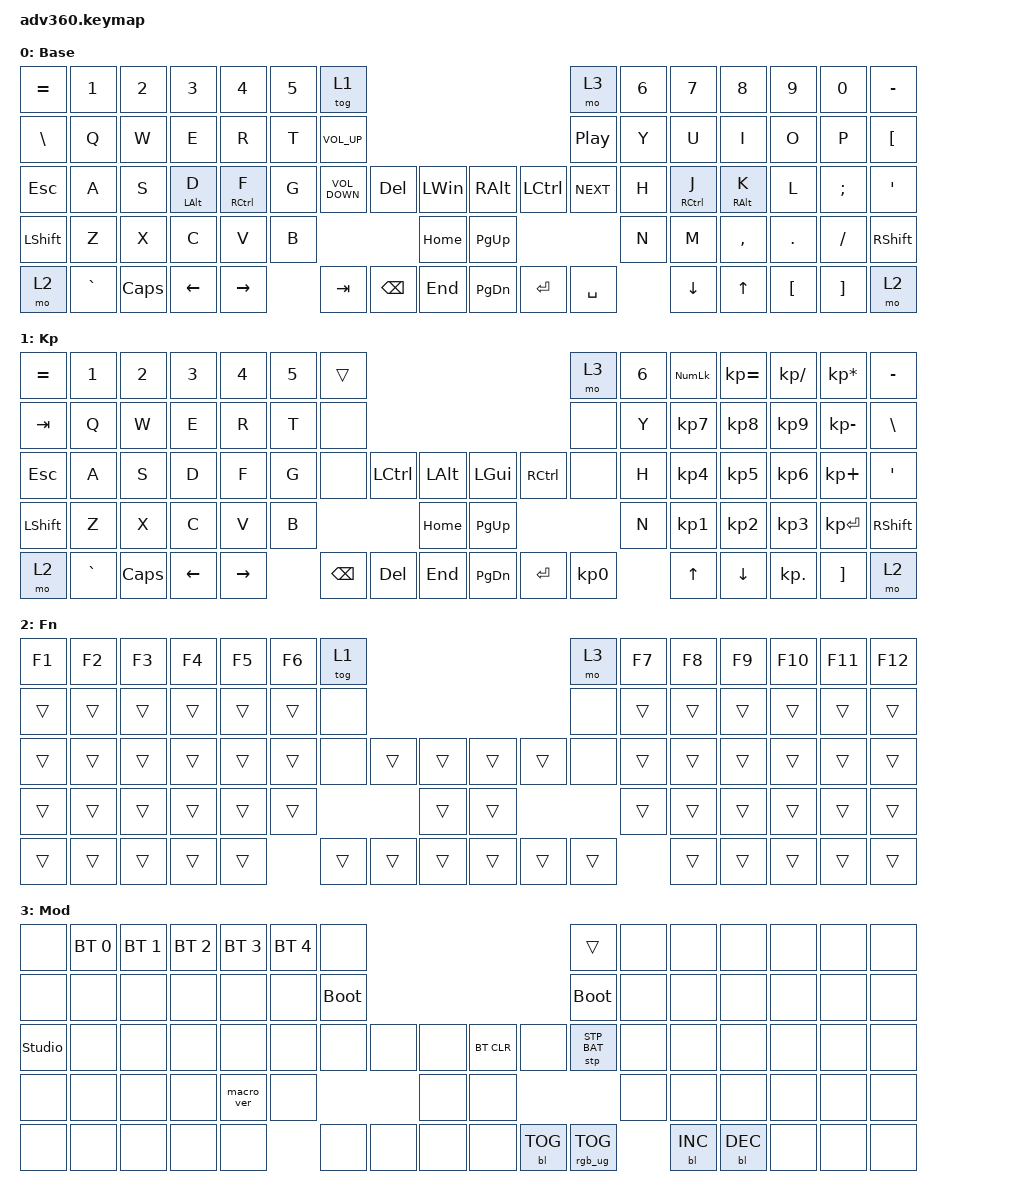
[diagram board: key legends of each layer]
#include <dt-bindings/zmk/stp.h>
#include <behaviors.dtsi>
#include <dt-bindings/zmk/backlight.h>
#include <dt-bindings/zmk/bt.h>
#include <dt-bindings/zmk/keys.h>
#include <dt-bindings/zmk/rgb.h>

/ {
    behaviors {
        #include "macros.dtsi"
      #include "version.dtsi"

        hrm_l: homerow_mods_l {
            compatible = "zmk,behavior-hold-tap";
            label = "HOMEROW_MODS_L";
            #binding-cells = <2>;
            tapping-term-ms = <280>;
            flavor = "balanced";
            bindings = <&kp>, <&kp>;

            quick-tap-ms = <220>;
            require-prior-idle-ms = <150>;
            hold-trigger-key-positions = <7 8 9 10 11 12 13 21 22 23 24 25 26 27 39 40 41 42 43 44 45 54 55 56 57 58 59 58 59 71 72 73 74 75 46>;
        };

        hrm_r: homerow_mods_r {
            compatible = "zmk,behavior-hold-tap";
            label = "HOMEROW_MODS_R";
            #binding-cells = <2>;
            tapping-term-ms = <280>;
            flavor = "balanced";
            bindings = <&kp>, <&kp>;

            quick-tap-ms = <220>;
            require-prior-idle-ms = <150>;
            hold-trigger-key-positions = <0 1 2 3 4 5 6 14 15 16 17 18 19 20 28 29 30 31 32 33 34 46 47 48 49 50 51 60 61 62 63 64 59 35>;
        };

        new_behavior: new_behavior {
            compatible = "zmk,behavior-hold-tap";
            label = "NEW_BEHAVIOR";
            #binding-cells = <2>;
            tapping-term-ms = <280>;
            flavor = "balanced";
            bindings = <&kp>, <&kp>;

            quick-tap-ms = <175>;
            require-prior-idle-ms = <150>;
            hold-trigger-key-positions = <7 8 9 10 11 12 13 21 22 23 24 25 26 27 39 40 41 42 43 44 45 54 55 56 57 58 59 58 59 71 72 73 74 75 46 35>;
        };
    };

    keymap {
        compatible = "zmk,keymap";

        default_layer {
            display-name = "Base";
            bindings = <
&kp EQUAL       &kp N1     &kp N2    &kp N3             &kp N4          &kp N5  &tog 1                                                                    &mo 3             &kp N6  &kp N7          &kp N8              &kp N9    &kp N0    &kp MINUS
&kp BACKSLASH   &kp Q      &kp W     &kp E              &kp R           &kp T   &kp C_VOLUME_UP                                                           &kp C_PLAY_PAUSE  &kp Y   &kp U           &kp I               &kp O     &kp P     &kp LEFT_BRACKET
&kp ESC         &kp A      &kp S     &hrm_l LEFT_ALT D  &hrm_l RCTRL F  &kp G   &kp C_VOLUME_DOWN  &kp DELETE     &kp LEFT_WIN      &kp RALT   &kp LCTRL  &kp C_NEXT        &kp H   &hrm_r RCTRL J  &hrm_r RIGHT_ALT K  &kp L     &kp SEMI  &kp SQT
&kp LEFT_SHIFT  &kp Z      &kp X     &kp C              &kp V           &kp B                                     &kp HOME          &kp PG_UP                               &kp N   &kp M           &kp COMMA           &kp DOT   &kp FSLH  &kp RIGHT_SHIFT
&mo 2           &kp GRAVE  &kp CAPS  &kp LEFT           &kp RIGHT               &kp TAB            &kp BACKSPACE  &kp END           &kp PG_DN  &kp ENTER  &kp SPACE                 &kp DOWN        &kp UP_ARROW        &kp LBKT  &kp RBKT  &mo 2
            >;
        };

        keypad {
            display-name = "Kp";
            bindings = <
&kp EQUAL  &kp N1     &kp N2    &kp N3    &kp N4     &kp N5  &trans                                                   &mo 3      &kp N6  &kp KP_NUM  &kp KP_EQUAL  &kp KP_DIVIDE  &kp KP_MULTIPLY  &kp MINUS
&kp TAB    &kp Q      &kp W     &kp E     &kp R      &kp T   &none                                                    &none      &kp Y   &kp KP_N7   &kp KP_N8     &kp KP_N9      &kp KP_MINUS     &kp BSLH
&kp ESC    &kp A      &kp S     &kp D     &kp F      &kp G   &none     &kp LCTRL  &kp LALT      &kp LGUI   &kp RCTRL  &none      &kp H   &kp KP_N4   &kp KP_N5     &kp KP_N6      &kp KP_PLUS      &kp SQT
&kp LSHFT  &kp Z      &kp X     &kp C     &kp V      &kp B                        &kp HOME      &kp PG_UP                        &kp N   &kp KP_N1   &kp KP_N2     &kp KP_N3      &kp KP_ENTER     &kp RSHFT
&mo 2      &kp GRAVE  &kp CAPS  &kp LEFT  &kp RIGHT          &kp BSPC  &kp DEL    &kp END       &kp PG_DN  &kp ENTER  &kp KP_N0          &kp UP      &kp DOWN      &kp KP_DOT     &kp RBKT         &mo 2
            >;
        };

        fn {
            display-name = "Fn";
            bindings = <
&kp F1  &kp F2  &kp F3  &kp F4  &kp F5  &kp F6  &tog 1                                      &mo 3   &kp F7  &kp F8  &kp F9  &kp F10  &kp F11  &kp F12
&trans  &trans  &trans  &trans  &trans  &trans  &none                                       &none   &trans  &trans  &trans  &trans   &trans   &trans
&trans  &trans  &trans  &trans  &trans  &trans  &none   &trans  &trans      &trans  &trans  &none   &trans  &trans  &trans  &trans   &trans   &trans
&trans  &trans  &trans  &trans  &trans  &trans                  &trans      &trans                  &trans  &trans  &trans  &trans   &trans   &trans
&trans  &trans  &trans  &trans  &trans          &trans  &trans  &trans      &trans  &trans  &trans          &trans  &trans  &trans   &trans   &trans
            >;
        };

        mod {
            display-name = "Mod";
            bindings = <
&none           &bt BT_SEL 0  &bt BT_SEL 1  &bt BT_SEL 2  &bt BT_SEL 3  &bt BT_SEL 4  &none                                                  &trans           &none  &none       &none       &none  &none  &none
&none           &none         &none         &none         &none         &none         &bootloader                                            &bootloader      &none  &none       &none       &none  &none  &none
&studio_unlock  &none         &none         &none         &none         &none         &none        &none  &none      &bt BT_CLR  &none       &stp STP_BAT     &none  &none       &none       &none  &none  &none
&none           &none         &none         &none         &macro_ver    &none                             &none      &none                                    &none  &none       &none       &none  &none  &none
&none           &none         &none         &none         &none                       &none        &none  &none      &none       &bl BL_TOG  &rgb_ug RGB_TOG         &bl BL_INC  &bl BL_DEC  &none  &none  &none
            >;
        };

        extra1 {
            display-name = "Red";
            status = "reserved";
        };

        extra2 {
            display-name = "Purple";
            status = "reserved";
        };

        extra3 {
            display-name = "Cyan";
            status = "reserved";
        };

        extra4 {
            display-name = "Yellow";
            status = "reserved";
        };
    };
};
